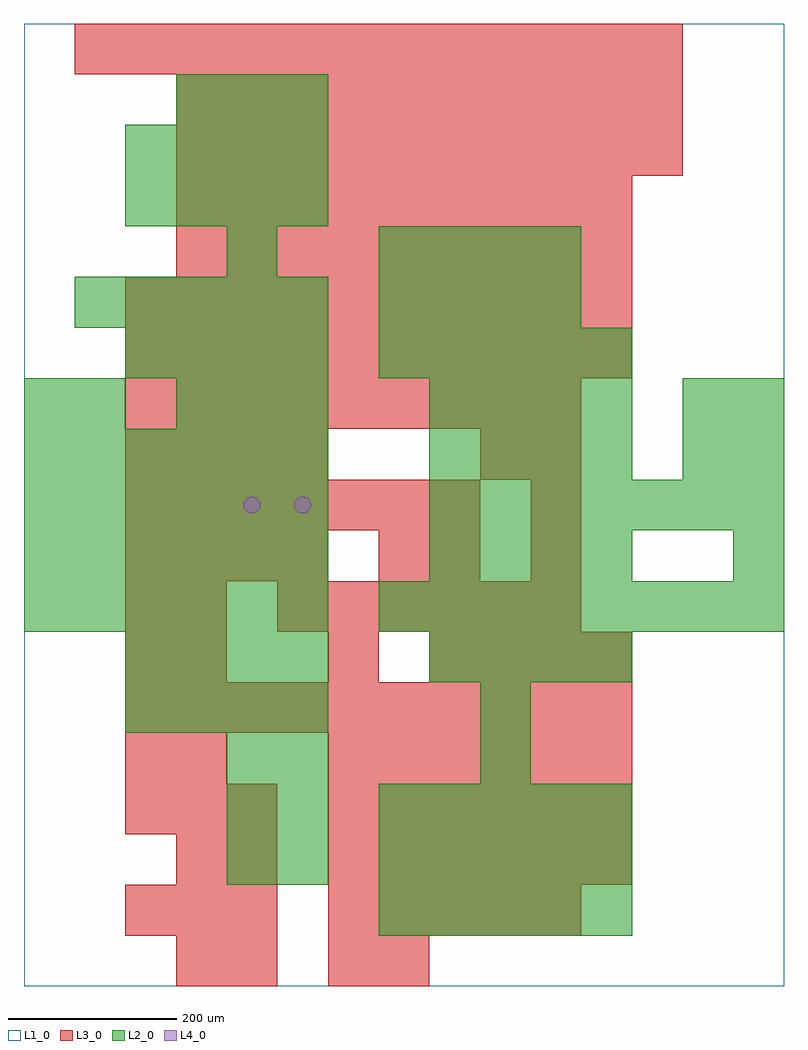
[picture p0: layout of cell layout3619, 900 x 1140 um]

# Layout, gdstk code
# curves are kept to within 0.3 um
import gdstk
lib = gdstk.Library(unit=1e-6, precision=1e-09)
def R(c, l, rs):  # rectangles x0, y0, x1, y1
    for r in rs: c.add(gdstk.rectangle(r[:2], r[2:], *l))
def A(c, l, x, y, w, h, nx, ny, dx, dy):  # array of equal rectangles
    R(c, l, [(x+i*dx, y+j*dy, x+i*dx+w, y+j*dy+h) for i in range(nx) for j in range(ny)])
def P(c, l, *ps):  # polygons
    for p in ps: c.add(gdstk.Polygon(p, *l))
L1_0 = (1, 0)
L2_0 = (2, 0)
L3_0 = (3, 0)
L4_0 = (4, 0)

layout3619 = lib.new_cell('layout3619')
R(layout3619, L1_0, [(0,0,900,1140)])
A(layout3619, L2_0, 420, 60, 60, 60, 5, 3, 60, 60)
A(layout3619, L2_0, 240, 120, 60, 60, 1, 3, 0, 60)
A(layout3619, L2_0, 300, 120, 60, 60, 1, 3, 0, 60)
A(layout3619, L2_0, 120, 300, 60, 60, 4, 2, 60, 60)
A(layout3619, L2_0, 480, 360, 60, 60, 4, 3, 60, 120)
A(layout3619, L2_0, 0, 420, 60, 60, 6, 4, 60, 60)
A(layout3619, L2_0, 420, 420, 60, 60, 8, 1, 60, 0)
A(layout3619, L2_0, 480, 540, 60, 60, 7, 1, 60, 0)
A(layout3619, L2_0, 180, 660, 60, 60, 3, 2, 60, 360)
A(layout3619, L2_0, 480, 660, 60, 60, 4, 1, 60, 0)
A(layout3619, L2_0, 120, 720, 60, 60, 4, 2, 60, 180)
A(layout3619, L2_0, 420, 720, 60, 60, 5, 1, 60, 0)
A(layout3619, L2_0, 60, 780, 60, 60, 5, 1, 60, 0)
A(layout3619, L2_0, 420, 780, 60, 60, 4, 2, 60, 60)
A(layout3619, L2_0, 120, 960, 60, 60, 4, 1, 60, 0)
R(layout3619, L2_0, [(540,240,600,300), (540,300,600,360), (840,480,900,540), (780,600,840,660), (840,600,900,660), (0,660,60,720), (60,660,120,720), (780,660,840,720), (840,660,900,720), (240,840,300,900)])
A(layout3619, L3_0, 180, 0, 60, 60, 1, 4, 0, 120)
A(layout3619, L3_0, 120, 60, 60, 60, 3, 2, 60, 120)
A(layout3619, L3_0, 360, 60, 60, 60, 5, 1, 60, 0)
A(layout3619, L3_0, 360, 120, 60, 60, 6, 3, 60, 60)
A(layout3619, L3_0, 120, 300, 60, 60, 10, 2, 60, 420)
A(layout3619, L3_0, 480, 360, 60, 60, 4, 1, 60, 0)
A(layout3619, L3_0, 300, 420, 60, 60, 6, 1, 60, 0)
A(layout3619, L3_0, 120, 480, 60, 60, 4, 2, 60, 120)
A(layout3619, L3_0, 600, 480, 60, 60, 1, 3, 0, 60)
A(layout3619, L3_0, 120, 540, 60, 60, 7, 1, 60, 0)
A(layout3619, L3_0, 120, 660, 60, 60, 9, 1, 60, 0)
A(layout3619, L3_0, 120, 780, 60, 60, 10, 1, 60, 0)
A(layout3619, L3_0, 180, 840, 60, 60, 9, 2, 60, 60)
A(layout3619, L3_0, 180, 960, 60, 60, 10, 2, 60, 60)
A(layout3619, L3_0, 60, 1080, 60, 60, 12, 1, 60, 0)
R(layout3619, L3_0, [(240,0,300,60), (360,0,420,60), (420,0,480,60), (240,120,300,180), (120,240,180,300), (120,360,180,420), (360,360,420,420), (120,420,180,480), (180,420,240,480), (420,480,480,540), (480,480,540,540), (540,600,600,660)])
P(layout3619, L4_0, [(280,570),(279.239,573.827),(277.071,577.071),(273.827,579.239),(270,580),(266.173,579.239),(262.929,577.071),(260.761,573.827),(260,570),(260.761,566.173),(262.929,562.929),(266.173,560.761),(270,560),(273.827,560.761),(277.071,562.929),(279.239,566.173)],
  [(340,570),(339.239,573.827),(337.071,577.071),(333.827,579.239),(330,580),(326.173,579.239),(322.929,577.071),(320.761,573.827),(320,570),(320.761,566.173),(322.929,562.929),(326.173,560.761),(330,560),(333.827,560.761),(337.071,562.929),(339.239,566.173)])

lib.write_gds('layout3619.gds')
